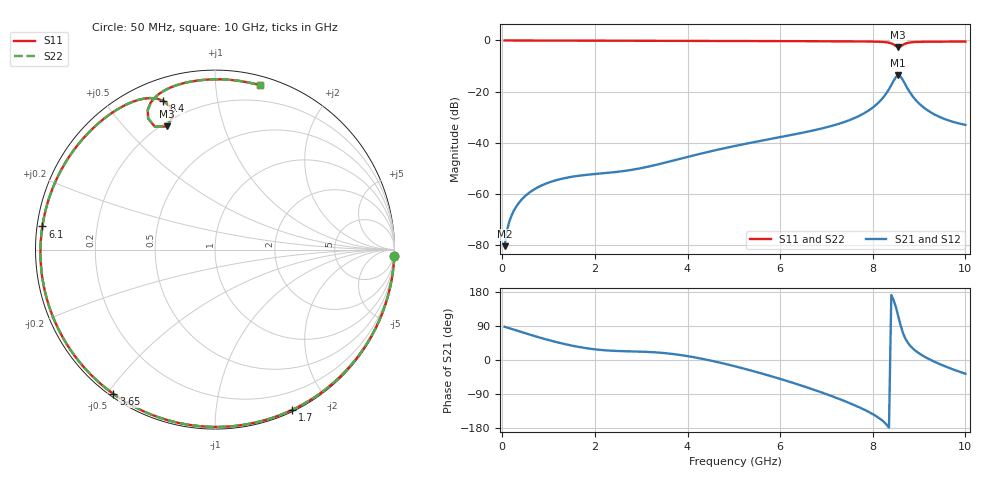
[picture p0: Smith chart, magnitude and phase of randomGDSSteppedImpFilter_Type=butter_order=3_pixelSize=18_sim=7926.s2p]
! freq	dB(S11)	phase(S11)	dB(S12)	phase(S12)
!  dB(S21)	phase(S21)	dB(S22)	phase(S22)
!S-par simulation data
#  GHz  S  DB  R 50
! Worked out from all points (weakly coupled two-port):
!   200 points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, 50 MHz to 10 GHz, reference 50 ohm
!   highest |S21| = -13.58 dB at 8.55 GHz (marker M1); lowest = -80.5 dB at 50 MHz (marker M2)
!   lowest |S11| = -2.7 dB at 8.55 GHz (marker M3), VSWR 6.60, Z = 11 + j33 ohm
!   |S11| at or under -10 dB: nowhere
!   |S22| runs from -2.7 to 0.0 dB; largest |S21 - S12| = 0
!   S11 on the Smith chart (normalised r, x): 50 MHz: 0, -57; 1.7 GHz: 0.02, -1.59; 3.65 GHz: 0.01, -0.52; 6.1 GHz: 0.02, +0.07; 8.4 GHz: 0.10, +0.71; 10 GHz: 0.07, +1.31
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0.05  -0.00 -2.0  -80.54 87.7  -80.54 87.7  -0.00 -2.0
0.1  -0.00 -4.0  -74.52 85.9  -74.52 85.9  -0.00 -4.0
0.2  -0.01 -7.9  -68.53 82.1  -68.53 82.1  -0.01 -7.9
0.5  -0.03 -19.6  -60.83 70.5  -60.83 70.5  -0.03 -19.6
1  -0.05 -38.8  -55.65 52.6  -55.65 52.6  -0.05 -38.8
1.7  -0.08 -64.3  -52.86 33.4  -52.86 33.4  -0.08 -64.3
1.75  -0.08 -66.0  -52.75 32.4  -52.75 32.4  -0.08 -66.0
2.55  -0.11 -92.6  -51.29 23.5  -51.29 23.5  -0.11 -92.6
3.4  -0.14 -118.1  -48.35 19.4  -48.35 19.4  -0.14 -118.1
3.65  -0.15 -125.1  -47.22 16.3  -47.22 16.3  -0.15 -125.1
5.05  -0.20 -161.8  -41.21 -17.4  -41.21 -17.4  -0.20 -161.8
6.1  -0.26 172.3  -37.50 -53.6  -37.50 -53.6  -0.26 172.3
6.7  -0.30 157.6  -35.30 -77.3  -35.30 -77.3  -0.30 157.6
7.8  -0.39 129.3  -28.64 -130.1  -28.64 -130.1  -0.39 129.3
8.1  -0.49 120.5  -24.73 -150.3  -24.73 -150.3  -0.49 120.4
8.35  -0.88 111.2  -19.07 -178.5  -19.07 -178.5  -0.88 111.2
8.4  -1.14 109.1  -17.49 171.5  -17.49 171.5  -1.14 109.1
8.55  -2.65 111.4  -13.58 115.9  -13.58 115.9  -2.65 111.4
8.7  -1.26 115.7  -17.18 57.5  -17.18 57.5  -1.26 115.6
8.9  -0.63 107.7  -22.73 26.6  -22.73 26.6  -0.63 107.6
9.15  -0.49 99.4  -26.94 6.6  -26.94 6.6  -0.49 99.3
10  -0.45 74.8  -33.06 -36.2  -33.06 -36.2  -0.45 74.7
